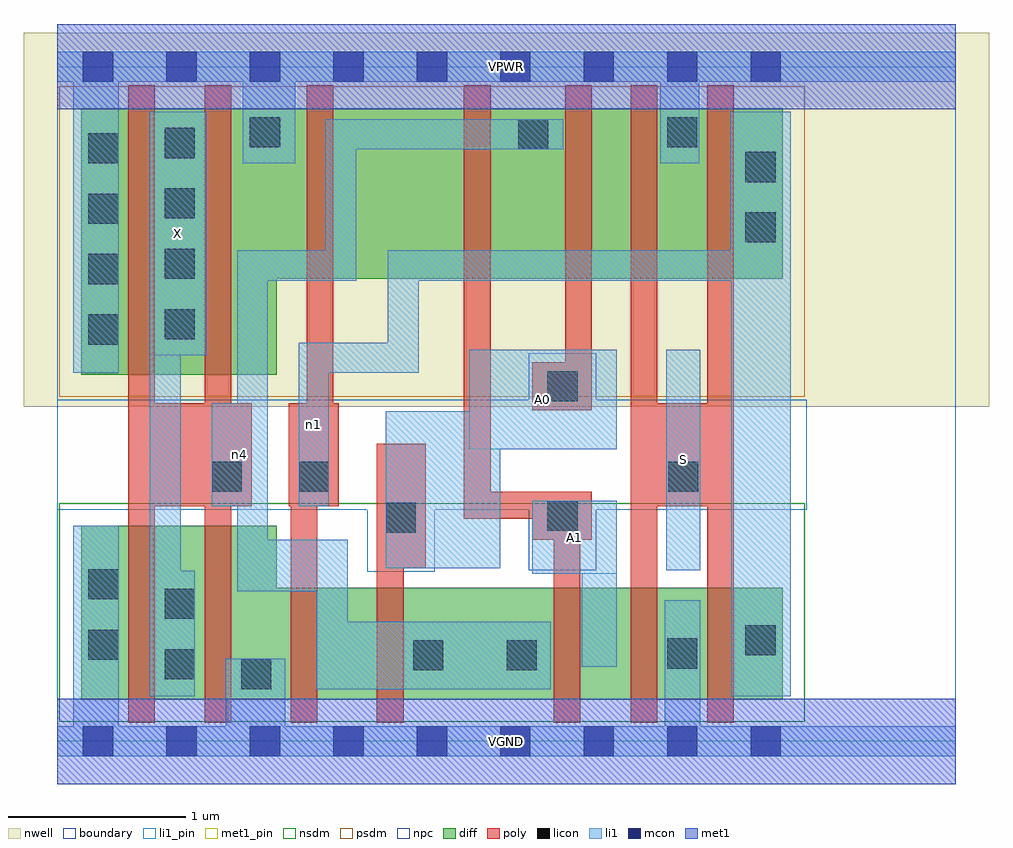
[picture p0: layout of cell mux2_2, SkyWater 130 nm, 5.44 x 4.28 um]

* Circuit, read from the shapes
.subckt mux2_2 A0 A1 S VGND VPWR X n1 n4
XM1 X n4 VGND VSUBS sky130_fd_pr__nfet_01v8 w=0.98 l=0.15 m=2
XM2 n2 n1 VGND VSUBS sky130_fd_pr__nfet_01v8 w=0.63 l=0.15
XM3 n4 A0 n2 VSUBS sky130_fd_pr__nfet_01v8 w=0.63 l=0.15
XM4 n3 A1 n4 VSUBS sky130_fd_pr__nfet_01v8 w=0.63 l=0.15
XM5 VGND S n3 VSUBS sky130_fd_pr__nfet_01v8 w=0.63 l=0.15
XM6 n1 S VGND VSUBS sky130_fd_pr__nfet_01v8 w=0.63 l=0.15
XM7 X n4 VPWR n5 sky130_fd_pr__pfet_01v8 w=1.5 l=0.15 m=2
XM8 n6 n1 VPWR n5 sky130_fd_pr__pfet_01v8 w=0.96 l=0.15
XM9 n4 A1 n6 n5 sky130_fd_pr__pfet_01v8 w=0.96 l=0.15
XM10 n7 A0 n4 n5 sky130_fd_pr__pfet_01v8 w=0.96 l=0.15
XM11 VPWR S n7 n5 sky130_fd_pr__pfet_01v8 w=0.96 l=0.15
XM12 n1 S VPWR n5 sky130_fd_pr__pfet_01v8 w=0.96 l=0.15
.ends

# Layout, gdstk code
import gdstk
lib = gdstk.Library(unit=1e-6, precision=1e-09)
def R(c, l, rs):  # rectangles x0, y0, x1, y1
    for r in rs: c.add(gdstk.rectangle(r[:2], r[2:], *l))
def A(c, l, x, y, w, h, nx, ny, dx, dy):  # array of equal rectangles
    R(c, l, [(x+i*dx, y+j*dy, x+i*dx+w, y+j*dy+h) for i in range(nx) for j in range(ny)])
nwell = (64, 20)
diff = (65, 20)
poly = (66, 20)
licon = (66, 44)
li1_pin = (67, 16)
li1 = (67, 20)
mcon = (67, 44)
met1_pin = (68, 16)
met1 = (68, 20)
nsdm = (93, 44)
psdm = (94, 20)
npc = (95, 20)
boundary = (235, 4)

mux2_2 = lib.new_cell('mux2_2')
R(mux2_2, nwell, [(-0.19,1.885,5.25,3.99), (0,1.885,5.06,3.99)])
R(mux2_2, diff, [(0.135,0.235,4.085,0.865), (0.135,0.235,1.235,1.215), (0.135,2.065,1.235,3.565), (0.135,2.605,4.085,3.565)])
R(mux2_2, poly, [(0.4,0.105,0.55,3.695), (0.83,0.105,0.98,3.695), (1.315,0.105,1.465,1.905), (1.8,0.105,1.95,1.675), (2.795,0.105,2.945,1.405), (3.23,0.105,3.38,3.695), (3.66,0.105,3.81,3.695), (1.8,0.975,2.075,1.675), (2.675,1.135,3.01,1.405), (2.29,1.255,2.44,3.695), (2.29,1.255,3.01,1.405), (0.4,1.325,1.095,1.905), (1.305,1.325,1.585,1.905), (1.405,1.325,1.555,3.695), (3.23,1.325,3.81,1.905), (2.675,1.865,3.01,2.135), (2.86,1.865,3.01,3.695)])
A(mux2_2, licon, 0.175, 2.235, 0.17, 0.17, 1, 4, 0, 0.34)
A(mux2_2, licon, 0.605, 2.265, 0.17, 0.17, 1, 4, 0, 0.34)
R(mux2_2, licon, [(1.035,0.295,1.205,0.465), (0.605,0.35,0.775,0.52), (2.005,0.4,2.175,0.57), (2.53,0.4,2.7,0.57), (3.435,0.41,3.605,0.58), (0.175,0.46,0.345,0.63), (3.875,0.485,4.045,0.655), (0.605,0.69,0.775,0.86), (0.175,0.8,0.345,0.97), (1.85,1.175,2.02,1.345), (2.76,1.185,2.93,1.355), (0.87,1.405,1.04,1.575), (1.36,1.405,1.53,1.575), (3.44,1.405,3.61,1.575), (2.76,1.915,2.93,2.085), (3.875,2.81,4.045,2.98), (3.875,3.15,4.045,3.32), (2.595,3.335,2.765,3.505), (1.085,3.345,1.255,3.515), (3.435,3.345,3.605,3.515)])
R(mux2_2, li1_pin, [(2.675,0.945,3.15,1.355), (3.43,0.965,3.62,2.205), (2.32,1.645,3.15,2.205), (0.52,2.175,0.84,3.545)])
R(mux2_2, li1, [(0,-0.085,5.06,0.085), (0.09,-0.085,0.345,1.215), (0.95,-0.085,1.285,0.465), (3.42,-0.085,3.62,0.795), (0.52,0.255,0.695,3.545), (0.52,0.255,0.775,0.96), (3.795,0.255,4.13,3.545), (1.46,0.295,2.78,0.675), (1.46,0.295,1.635,1.135), (2.955,0.42,3.15,1.355), (1.015,0.845,1.185,2.765), (1.015,0.845,1.635,1.135), (2.675,0.945,3.15,1.355), (3.43,0.965,3.62,2.205), (1.85,0.975,2.495,1.86), (2.32,0.975,2.495,2.205), (0.87,1.325,1.185,1.905), (1.36,1.325,1.53,2.245), (2.32,1.645,3.15,2.205), (0.09,2.075,0.345,3.885), (1.36,2.075,2.035,2.245), (1.86,2.075,2.035,2.765), (0.52,2.175,0.84,3.545), (1.015,2.595,1.685,2.765), (1.51,2.595,1.685,3.505), (1.86,2.595,4.13,2.765), (3.79,2.595,4.13,3.545), (1.045,3.255,1.34,3.885), (3.395,3.255,3.615,3.885), (1.51,3.335,2.85,3.505), (0,3.715,5.06,3.885)])
A(mux2_2, mcon, 0.145, -0.085, 0.17, 0.17, 9, 2, 0.47, 3.8)
R(mux2_2, met1_pin, [(0,-0.24,5.06,0.24), (0,3.56,5.06,4.04)])
R(mux2_2, met1, [(0,-0.24,5.06,0.24), (0,3.56,5.06,4.04)])
R(mux2_2, nsdm, [(0.01,0.11,4.21,1.34)])
R(mux2_2, psdm, [(0.01,1.94,4.21,3.69)])
R(mux2_2, npc, [(1.745,0.955,2.125,1.925), (2.655,0.965,3.035,2.185), (0,1.305,4.22,1.925)])
R(mux2_2, boundary, [(0,0,5.06,3.8)])
mux2_2.add(gdstk.Label('A0', (2.735,1.925), layer=67, texttype=5))
mux2_2.add(gdstk.Label('A1', (2.912,1.15), layer=67, texttype=5))
mux2_2.add(gdstk.Label('S', (3.525,1.585), layer=67, texttype=5))
mux2_2.add(gdstk.Label('X', (0.68,2.86), layer=67, texttype=5))
mux2_2.add(gdstk.Label('n4', (1.027,1.615), layer=67, texttype=5))
mux2_2.add(gdstk.Label('n1', (1.445,1.785), layer=67, texttype=5))
mux2_2.add(gdstk.Label('VPWR', (2.53,3.8), layer=68, texttype=5))
mux2_2.add(gdstk.Label('VGND', (2.53,0), layer=68, texttype=5))
mux2_2.add(gdstk.Label('A0', (2.735,1.925), layer=67, texttype=16))
mux2_2.add(gdstk.Label('A1', (2.912,1.15), layer=67, texttype=16))
mux2_2.add(gdstk.Label('S', (3.525,1.585), layer=67, texttype=16))
mux2_2.add(gdstk.Label('X', (0.68,2.86), layer=67, texttype=16))
mux2_2.add(gdstk.Label('VPWR', (2.53,3.8), layer=68, texttype=16))
mux2_2.add(gdstk.Label('VGND', (2.53,0), layer=68, texttype=16))

lib.write_gds('mux2_2.gds')
